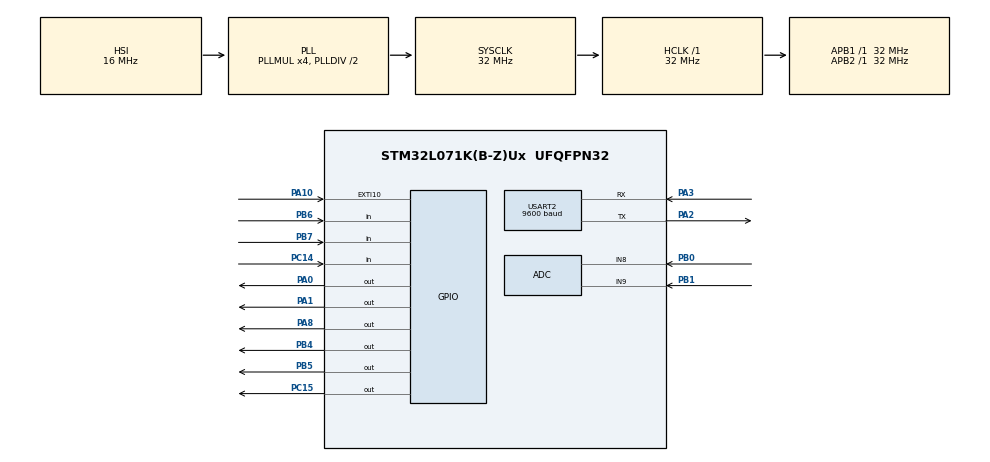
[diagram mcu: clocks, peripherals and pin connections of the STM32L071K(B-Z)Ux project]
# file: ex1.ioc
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ADC.DiscontinuousConvMode=ENABLE
Dma.MEMTOMEM.0.Direction=DMA_MEMORY_TO_MEMORY
Dma.MEMTOMEM.0.Instance=DMA1_Channel1
Dma.MEMTOMEM.0.MemDataAlignment=DMA_MDATAALIGN_BYTE
Dma.MEMTOMEM.0.MemInc=DMA_MINC_ENABLE
Dma.MEMTOMEM.0.Mode=DMA_NORMAL
Dma.MEMTOMEM.0.PeriphDataAlignment=DMA_PDATAALIGN_BYTE
Dma.MEMTOMEM.0.PeriphInc=DMA_PINC_ENABLE
Dma.MEMTOMEM.0.Priority=DMA_PRIORITY_LOW
Dma.Request0=MEMTOMEM
Dma.Request1=USART2_RX
Dma.USART2_RX.1.Direction=DMA_PERIPH_TO_MEMORY
Dma.USART2_RX.1.Instance=DMA1_Channel5
Dma.USART2_RX.1.MemDataAlignment=DMA_MDATAALIGN_BYTE
Dma.USART2_RX.1.MemInc=DMA_MINC_ENABLE
Dma.USART2_RX.1.Mode=DMA_CIRCULAR
Dma.USART2_RX.1.PeriphDataAlignment=DMA_PDATAALIGN_BYTE
Dma.USART2_RX.1.PeriphInc=DMA_PINC_DISABLE
Dma.USART2_RX.1.Priority=DMA_PRIORITY_LOW
Mcu.Family=STM32L0
Mcu.Name=STM32L071K(B-Z)Ux
Mcu.Package=UFQFPN32
NVIC.ADC1_COMP_IRQn=true\:0\:0\:false\:false\:true\:true\:true
NVIC.DMA1_Channel1_IRQn=true\:0\:0\:false\:false\:true\:true\:true
NVIC.DMA1_Channel4_5_6_7_IRQn=true\:0\:0\:false\:false\:true\:false\:true
NVIC.EXTI4_15_IRQn=true\:0\:0\:false\:false\:true\:true\:true
NVIC.TIM6_IRQn=true\:0\:0\:false\:false\:true\:true\:true
NVIC.USART2_IRQn=true\:0\:0\:false\:false\:true\:true\:true
PA0.Signal=GPIO_Output
PA1.Signal=GPIO_Output
PA10.Signal=GPXTI10
PA13.Mode=Serial_Wire
PA13.Signal=SYS_SWDIO
PA14.Mode=Serial_Wire
PA14.Signal=SYS_SWCLK
PA2.Mode=Asynchronous
PA2.Signal=USART2_TX
PA3.Mode=Asynchronous
PA3.Signal=USART2_RX
PA8.Signal=GPIO_Output
PB0.Mode=IN8
PB0.Signal=ADC_IN8
PB1.Mode=IN9
PB1.Signal=ADC_IN9
PB4.Signal=GPIO_Output
PB5.Signal=GPIO_Output
PB6.Signal=GPIO_Input
PB7.Signal=GPIO_Input
PC14-OSC32_IN.Signal=GPIO_Input
PC15-OSC32_OUT.Signal=GPIO_Output
ProjectManager.HeapSize=0x200
ProjectManager.StackSize=0x400
ProjectManager.TargetToolchain=MDK-ARM V5
RCC.AHBFreq_Value=32000000
RCC.APB1Freq_Value=32000000
RCC.APB1TimFreq_Value=32000000
RCC.APB2Freq_Value=32000000
RCC.APB2TimFreq_Value=32000000
RCC.HCLKFreq_Value=32000000
RCC.HSI16_VALUE=16000000
RCC.HSI_VALUE=16000000
RCC.LSE_VALUE=32768
RCC.MSI_VALUE=2097000
RCC.PLLMUL=RCC_PLLMUL_4
RCC.SYSCLKFreq_VALUE=32000000
RCC.SYSCLKSource=RCC_SYSCLKSOURCE_PLLCLK
RCC.VCOOutputFreq_Value=64000000
RTC.Format=RTC_FORMAT_BIN
RTC.SynchPrediv=307
TIM6.Period=999
TIM6.Prescaler=31
USART2.BaudRate=9600
USART2.VirtualMode-Asynchronous=VM_ASYNC
VP_CRC_VS_CRC.Mode=CRC_Activate
VP_RTC_VS_RTC_Activate.Mode=RTC_Enabled
VP_RTC_VS_RTC_Calendar.Mode=RTC_Calendar
VP_TIM6_VS_ClockSourceINT.Mode=Enable_Timer
board=custom

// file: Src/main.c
/* USER CODE BEGIN Header */
/**
  ******************************************************************************
  * @file           : main.c
  * @brief          : Main program body
  ******************************************************************************
  * @attention
  *
  * <h2><center>&copy; Copyright (c) 2019 STMicroelectronics.
  * All rights reserved.</center></h2>
  *
  * This software component is licensed by ST under BSD 3-Clause license,
  * the "License"; You may not use this file except in compliance with the
  * License. You may obtain a copy of the License at:
  *                        opensource.org/licenses/BSD-3-Clause
  *
  ******************************************************************************
  */
/* USER CODE END Header */

#include "main.h"
#include "adc.h"
#include "crc.h"
#include "dma.h"
#include "rtc.h"
#include "tim.h"
#include "usart.h"
#include "gpio.h"

/* USER CODE BEGIN Includes */
#include "stm32l0xx_hal.h"
#include "zm4xx_gpio.h"
#include "spi.h"
#include "timer.h"
#include "stddef.h"
#include "sx127x_lora.h"
#include <string.h>
/* USER CODE END Includes */

/* USER CODE BEGIN PTD */
#define FREQ  (433000000)
void SystemClock_Config(void);
void Hardware_Init(void);
radio_handle_t  handle;
 int ret = RADIO_RET_OK;

    uint16_t len = 0;
		uint8_t rx[100];
		uint8_t tx = 0x55;
		uint8_t cntr = 0;
	unsigned int time_i=0,time_100ms=1,time_600ms;
	unsigned int lora_flag=0;
	float value[2];
	unsigned int key_i,key_flag=1;
	char lcdLine_1st_line[16];
  char lcdLine_2st_line[16];
	char send[20];
	unsigned char reply[100],usar_flag=0,enter[]="\r\n";
/* USER CODE END PTD */

void SystemClock_Config(void);

/* USER CODE BEGIN 0 */
void Task_BrdInit(void)
{
    HAL_GPIO_WritePin(GPIOC, GPIO_PIN_15, GPIO_PIN_SET);

    OLED_PowerControl(ENABLE);

    HAL_Delay(200);
    OLED_Init();
    OLED_Clear();

    OLED_ShowString(0, 0, (unsigned char *)"                ", 16);
    OLED_ShowString(0, 2, (unsigned char *)"                ", 16);
}
void LoRa_Init(void)
{

	handle = radio_zm4xx_inst_init(spi_recv_byte,spi_send_byte,zm4xx_rst_pin_set,zm4xx_sel_pin_set,delay_ms,delay_us);

	if(handle != NULL){
		if(RADIO_RET_OK == radio_freq_set(handle, FREQ)){
				HAL_GPIO_WritePin(GPIOC, GPIO_PIN_15,GPIO_PIN_RESET);
		}

		radio_mode_set(handle, RX_MODE);	//Receive Mode
	}
}
void key_scan(void);
void key(void);
void node(void);
/* USER CODE END 0 */

int main(void)
{

  /* MCU Configuration--------------------------------------------------------*/

  /* Reset of all peripherals, Initializes the Flash interface and the Systick. */
  HAL_Init();

  /* Configure the system clock */
  SystemClock_Config();

  /* Initialize all configured peripherals */
  MX_GPIO_Init();
  MX_DMA_Init();
  MX_CRC_Init();
  MX_USART2_UART_Init();
  MX_RTC_Init();
  MX_TIM6_Init();
  MX_ADC_Init();
  /* USER CODE BEGIN 2 */
    Task_BrdInit();
		zm4xx_pin_init(); //LORA��Ҫ
    spi_init();//LORA��Ҫ
		LoRa_Init();
		HAL_TIM_Base_Start_IT(&htim6);
		HAL_UART_Transmit(&huart2,send,strlen((char *)send),100);
		HAL_UART_Receive_DMA(&huart2,reply,strlen((char *)reply));
  /* USER CODE END 2 */

  /* Infinite loop */
    while (1)
    {

    /* USER CODE BEGIN 3 */
			if(time_100ms)
			{
				for(int i=0;i<=1;i++)
				{
					HAL_ADC_Start(&hadc);
					value[i]=HAL_ADC_GetValue(&hadc)*3.3/4095;
				}
				OLED_ShowString(0, 0, (unsigned char *)lcdLine_1st_line, 16);
				OLED_ShowString(0, 2, (unsigned char *)lcdLine_2st_line, 16);
				sprintf(send, "%d",strlen((char *)rx));
//				OLED_ShowString(90, 2, (unsigned char *)send, 16);
				time_100ms=0;
			}
			key();
			node();
    }
  /* USER CODE END 3 */
}
/* USER CODE BEGIN 4 */
void node()
{
	if(lora_flag==1)
	{
		if(ret == RADIO_RET_OK)
		{
			if(rx[0]=='1'&&rx[1]=='1')
			{
				HAL_NVIC_DisableIRQ(EXTI4_15_IRQn);
				sprintf(send, "VAIN1:%.2f",value[0]);
				radio_buf_send(handle, (unsigned char *)send, strlen(send));
				radio_mode_set(handle, RX_MODE);
				HAL_NVIC_EnableIRQ(EXTI4_15_IRQn);
			}
			else if(rx[0]=='1'&&rx[1]=='2')
			{
				HAL_NVIC_DisableIRQ(EXTI4_15_IRQn);
				sprintf(send, "VAIN2:%.2f",value[1]);
				radio_buf_send(handle, (unsigned char *)send, strlen(send));
				radio_mode_set(handle, RX_MODE);
				HAL_NVIC_EnableIRQ(EXTI4_15_IRQn);
			}
			else if(rx[0]=='2'&&rx[1]=='1')
			{
				HAL_GPIO_TogglePin(GPIOA, GPIO_PIN_0);
			}
			else if(rx[0]=='2'&&rx[1]=='2')
			{
				HAL_GPIO_TogglePin(GPIOA, GPIO_PIN_1);
			}
			else
			{
				;
			}
		}
		HAL_UART_Transmit(&huart2,rx,len,100);
		lora_flag=0;
		for(int i=0;i<10;i++)
				rx[i]=0;
	}
}
void key()
{
	if(key_flag==1)
	{
		sprintf(lcdLine_1st_line, "VAIN1:%.2f",value[0]);
		sprintf(lcdLine_2st_line, "VAIN2:%.2f",value[1]);
	}
	if(key_flag==0)
	{
		sprintf(lcdLine_1st_line, "                ");
		sprintf(lcdLine_2st_line, "                ");
	}
}

void key_scan()
{
	if(HAL_GPIO_ReadPin(GPIOC, GPIO_PIN_14)==0)
	{
		key_i++;
	}
	if(HAL_GPIO_ReadPin(GPIOC, GPIO_PIN_14)==1)
	{
		if(key_i>=1)
		{
			key_flag=!key_flag;
		}
		key_i=0;
	}
}
void HAL_TIM_PeriodElapsedCallback(TIM_HandleTypeDef *htim)
{
	if(htim->Instance==TIM6)
	{
		time_i++;
		if(time_i==9999)		time_i=0;
		if(time_i%20==0)		key_scan();
		if(time_i%100==0)		time_100ms=!time_100ms;
		if(time_i%600==0)		time_600ms=!time_600ms;
	}
}
void HAL_GPIO_EXTI_Callback(uint16_t GPIO_Pin)
{
	if(GPIO_Pin==GPIO_PIN_10)
	{
		ret = radio_buf_recv(handle, rx, &len);
		lora_flag=1;
	}
}
/* USER CODE END 4 */

void SystemClock_Config(void)
{
  RCC_OscInitTypeDef RCC_OscInitStruct = {0};
  RCC_ClkInitTypeDef RCC_ClkInitStruct = {0};
  RCC_PeriphCLKInitTypeDef PeriphClkInit = {0};

  /** Configure the main internal regulator output voltage
  */
  __HAL_PWR_VOLTAGESCALING_CONFIG(PWR_REGULATOR_VOLTAGE_SCALE1);
  /** Initializes the CPU, AHB and APB busses clocks
  */
  RCC_OscInitStruct.OscillatorType = RCC_OSCILLATORTYPE_HSI|RCC_OSCILLATORTYPE_LSI;
  RCC_OscInitStruct.HSIState = RCC_HSI_ON;
  RCC_OscInitStruct.HSICalibrationValue = RCC_HSICALIBRATION_DEFAULT;
  RCC_OscInitStruct.LSIState = RCC_LSI_ON;
  RCC_OscInitStruct.PLL.PLLState = RCC_PLL_ON;
  RCC_OscInitStruct.PLL.PLLSource = RCC_PLLSOURCE_HSI;
  RCC_OscInitStruct.PLL.PLLMUL = RCC_PLLMUL_4;
  RCC_OscInitStruct.PLL.PLLDIV = RCC_PLLDIV_2;
  if (HAL_RCC_OscConfig(&RCC_OscInitStruct) != HAL_OK)
  {
    Error_Handler();
  }
  /** Initializes the CPU, AHB and APB busses clocks
  */
  RCC_ClkInitStruct.ClockType = RCC_CLOCKTYPE_HCLK|RCC_CLOCKTYPE_SYSCLK
                              |RCC_CLOCKTYPE_PCLK1|RCC_CLOCKTYPE_PCLK2;
  RCC_ClkInitStruct.SYSCLKSource = RCC_SYSCLKSOURCE_PLLCLK;
  RCC_ClkInitStruct.AHBCLKDivider = RCC_SYSCLK_DIV1;
  RCC_ClkInitStruct.APB1CLKDivider = RCC_HCLK_DIV1;
  RCC_ClkInitStruct.APB2CLKDivider = RCC_HCLK_DIV1;

  if (HAL_RCC_ClockConfig(&RCC_ClkInitStruct, FLASH_LATENCY_1) != HAL_OK)
  {
    Error_Handler();
  }
  PeriphClkInit.PeriphClockSelection = RCC_PERIPHCLK_USART2|RCC_PERIPHCLK_RTC;
  PeriphClkInit.Usart2ClockSelection = RCC_USART2CLKSOURCE_PCLK1;
  PeriphClkInit.RTCClockSelection = RCC_RTCCLKSOURCE_LSI;
  if (HAL_RCCEx_PeriphCLKConfig(&PeriphClkInit) != HAL_OK)
  {
    Error_Handler();
  }
}

void Error_Handler(void)
{
}

/************************ (C) COPYRIGHT STMicroelectronics *****END OF FILE****/
